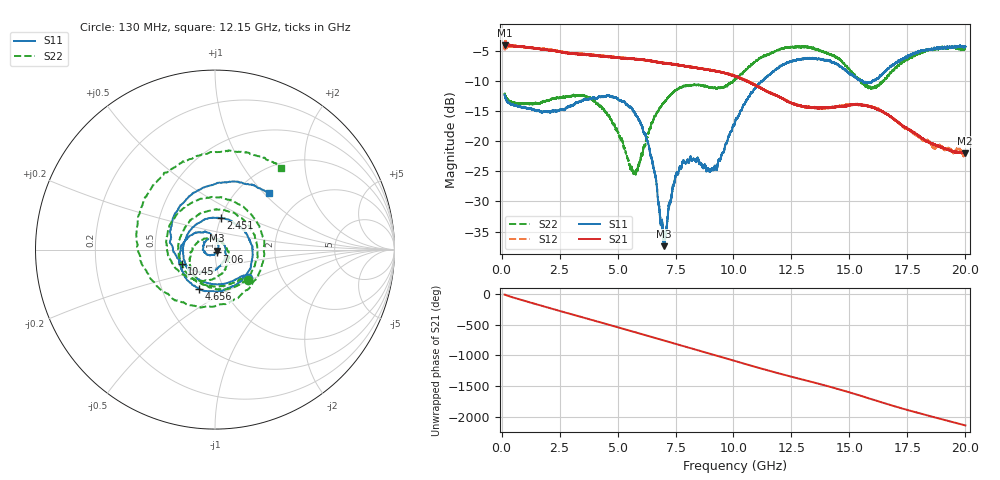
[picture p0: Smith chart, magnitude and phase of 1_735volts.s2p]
!Created with skrf (http://scikit-rf.org).
# GHz S RI R 50.0
!freq ReS11 ImS11 ReS21 ImS21 ReS12 ImS12 ReS22 ImS22
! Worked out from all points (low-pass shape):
!   20013 points, 130 MHz to 20 GHz, reference 50 ohm
!   highest |S21| = -4.09 dB at 158 MHz (marker M1); lowest = -22.0 dB at 19.99 GHz (marker M2)
!   |S21| within 3 dB of the highest: start of sweep to 6.932 GHz; 6.932001 GHz to 6.946398 GHz (14.4 MHz wide, 0.207 % of centre)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
!   lowest |S11| = -37.4 dB at 7.009 GHz (marker M3), VSWR 1.03, Z = 51.2 - j0.578 ohm
!   |S11| at or under -10 dB: start of sweep to 11.24 GHz; 15.55 GHz to 15.99 GHz (436 MHz wide, 2.76 % of centre); 16.03315 GHz to 16.04492 GHz (11.77 MHz wide, 0.0734 % of centre)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
!   |S22| runs from -25.5 to -4.2 dB; largest |S21 - S12| = 0.073
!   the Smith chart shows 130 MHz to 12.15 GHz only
!   S11 on the Smith chart (normalised r, x): 130 MHz: 1.36, -0.46; 2.451 GHz: 1.01, +0.36; 4.656 GHz: 0.76, -0.36; 7.06 GHz: 1.02, -0.03; 10.45 GHz: 0.68, -0.11; 12.15 GHz: 1.38, +1.06
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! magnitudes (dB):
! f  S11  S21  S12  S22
! 130 MHz  -12.3  -4.2  -4.9  -12.0
! 158 MHz  -12.8  -4.1  -4.5  -12.6
! 2.451 GHz  -15.0  -5.1  -5.0  -12.9
! 3.442 GHz  -13.4  -5.6  -5.5  -12.5
! 4.656 GHz  -12.5  -6.1  -6.0  -16.0
! 5.752 GHz  -15.4  -6.3  -6.4  -25.1
! 6.291 GHz  -20.0  -6.7  -6.7  -19.3
! 6.754 GHz  -30.0  -6.9  -6.9  -15.0
! 7.009 GHz  -37.4  -7.1  -7.1  -13.6
! 7.06 GHz  -35.5  -7.1  -7.1  -13.3
! 7.45 GHz  -26.8  -7.3  -7.2  -11.8
! 7.763 GHz  -24.3  -7.5  -7.4  -11.1
! 9.208 GHz  -24.1  -8.4  -8.3  -11.1
! 10.06 GHz  -17.0  -9.2  -9.2  -9.9
! 10.45 GHz  -13.9  -9.8  -9.8  -8.5
! 12.15 GHz  -7.3  -13.0  -13.0  -4.6
! 13.38 GHz  -6.2  -14.5  -14.5  -4.6
! 15.88 GHz  -10.2  -14.3  -14.3  -11.0
! 16.69 GHz  -7.9  -15.6  -15.7  -9.1
! 18.37 GHz  -4.9  -20.1  -19.9  -5.0
! 19.99 GHz  -4.3  -22.0  -22.1  -4.6
! 20 GHz  -4.3  -21.9  -22.0  -4.6
